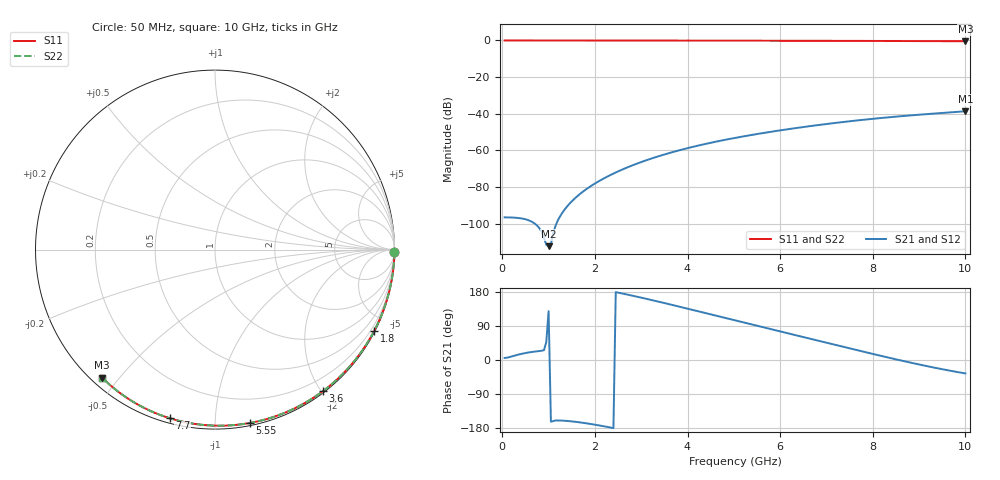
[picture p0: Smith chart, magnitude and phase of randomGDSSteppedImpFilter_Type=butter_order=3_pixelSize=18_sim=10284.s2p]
! freq	dB(S11)	phase(S11)	dB(S12)	phase(S12)
!  dB(S21)	phase(S21)	dB(S22)	phase(S22)
!S-par simulation data
#  GHz  S  DB  R 50
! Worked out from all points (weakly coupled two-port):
!   200 points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, 50 MHz to 10 GHz, reference 50 ohm
!   highest |S21| = -38.69 dB at 10 GHz (marker M1); lowest = -112.4 dB at 1 GHz (marker M2)
!   lowest |S11| = -0.4 dB at 10 GHz (marker M3), VSWR 40.08, Z = 1.5 - j22.6 ohm
!   |S11| at or under -10 dB: nowhere
!   |S22| runs from -0.4 to 0.0 dB; largest |S21 - S12| = 0
!   S11 on the Smith chart (normalised r, x): 50 MHz: open; 1.8 GHz: 0.04, -4.17; 3.6 GHz: 0.02, -2.02; 5.55 GHz: 0.02, -1.22; 7.7 GHz: 0.02, -0.77; 10 GHz: 0.03, -0.45
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0.05  -0.00 -0.8  -96.63 5.4  -96.63 5.4  -0.00 -0.8
0.5  -0.01 -7.6  -97.68 18.4  -97.68 18.4  -0.01 -7.6
1  -0.02 -15.1  -112.37 128.9  -112.37 128.9  -0.02 -15.1
1.75  -0.03 -26.2  -82.41 -165.9  -82.41 -165.9  -0.03 -26.2
1.8  -0.03 -26.9  -81.48 -166.8  -81.48 -166.8  -0.03 -26.9
1.9  -0.04 -28.4  -79.75 -168.6  -79.75 -168.6  -0.04 -28.4
2.05  -0.04 -30.6  -77.39 -171.7  -77.39 -171.7  -0.04 -30.6
2.25  -0.04 -33.5  -74.59 -176.2  -74.59 -176.2  -0.04 -33.5
2.65  -0.05 -39.3  -69.87 174.0  -69.87 174.0  -0.05 -39.3
3  -0.06 -44.3  -66.42 164.6  -66.42 164.6  -0.06 -44.3
3.4  -0.07 -49.9  -63.04 153.2  -63.04 153.2  -0.07 -49.9
3.6  -0.07 -52.7  -61.54 147.4  -61.54 147.4  -0.07 -52.7
3.9  -0.08 -56.8  -59.47 138.5  -59.47 138.5  -0.08 -56.8
4.3  -0.09 -62.3  -57.01 126.5  -57.01 126.5  -0.09 -62.3
5.05  -0.11 -72.2  -53.12 103.9  -53.12 103.9  -0.11 -72.2
5.55  -0.13 -78.7  -50.91 88.9  -50.91 88.9  -0.13 -78.7
6.1  -0.15 -85.6  -48.73 72.5  -48.73 72.5  -0.15 -85.6
6.7  -0.18 -93.1  -46.61 54.6  -46.61 54.6  -0.18 -93.1
7.7  -0.24 -105.1  -43.59 24.8  -43.59 24.8  -0.24 -105.1
8.35  -0.29 -112.7  -41.96 5.9  -41.96 5.9  -0.29 -112.7
9.15  -0.35 -121.8  -40.26 -15.7  -40.26 -15.7  -0.35 -121.8
10  -0.43 -131.4  -38.69 -35.5  -38.69 -35.5  -0.43 -131.4
